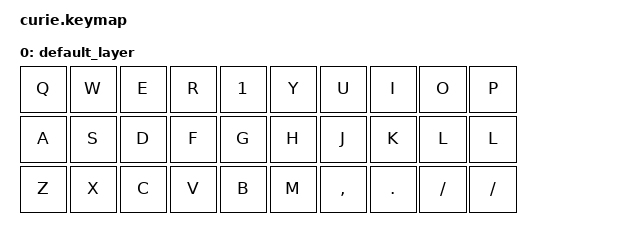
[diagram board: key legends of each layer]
// Copyright (c) 2022 The ZMK Contributors
// SPDX-License-Identifier: MIT

#include <behaviors.dtsi>
#include <dt-bindings/zmk/keys.h>
#include <dt-bindings/zmk/bt.h>
#include <dt-bindings/zmk/rgb.h>


/ {
	behaviors {
		ht: hold_tap {
			compatible = "zmk,behavior-hold-tap";
			#binding-cells = <2>;
			flavor = "tap-preferred";
			tapping-term-ms = <220>;
			quick-tap-ms = <150>;
			require-prior-idle-ms = <100>;
			bindings = <&kp>, <&kp>;
		};

		// rgb_encoder: rgb_encoder {
			//     compatible = "zmk,behavior-sensor-rotate";
			//     #sensor-binding-cells = <0>;
			//     bindings = <&rgb_ug RGB_BRI>, <&rgb_ug RGB_BRD>;
		// };

		// vol_encoder: vol_encoder {
			//     compatible = "zmk,behavior-sensor-rotate";
			//     #sensor-binding-cells = <0>;
			//     bindings = <&rgb_ug RGB_BRI>, <&rgb_ug RGB_BRD>;
		// };

	};

	conditional_layers {
		compatible = "zmk,conditional-layers";
		tri_layer {
			if-layers = <1 2>;
			then-layer = <3>;
		};
	};

	keymap {
		compatible = "zmk,keymap";
		default_layer {
			bindings = <
			&kp Q      &kp W       &kp E       &kp R    &kp N1     &kp Y      &kp U         &kp I      &kp O    &kp P
			&kp A      &kp S       &kp D       &kp F    &kp G      &kp H      &kp J         &kp K      &kp L    &kp L
			&kp Z      &kp X       &kp C       &kp V    &kp B      &kp M      &kp COMMA  &kp DOT    &kp FSLH &kp FSLH
			>;
			// sensor-bindings = <&inc_dec_kp C_VOL_UP C_VOL_DN>;
		};
	};
};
